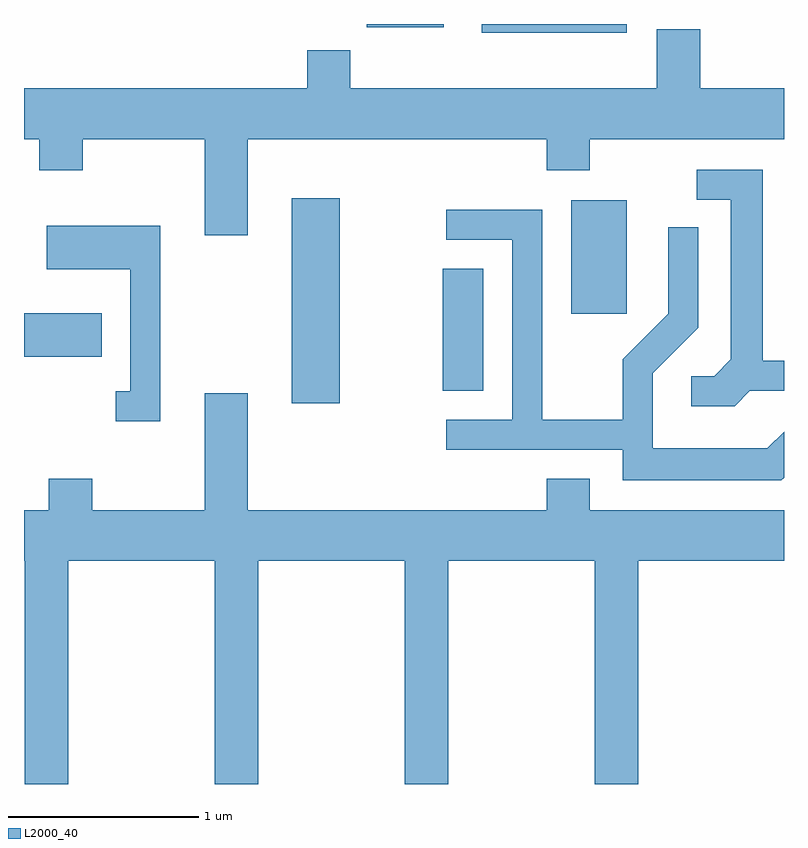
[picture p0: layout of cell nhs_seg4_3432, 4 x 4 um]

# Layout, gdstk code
import gdstk
lib = gdstk.Library(unit=1e-6, precision=1e-09)
def R(c, l, rs):  # rectangles x0, y0, x1, y1
    for r in rs: c.add(gdstk.rectangle(r[:2], r[2:], *l))
def P(c, l, *ps):  # polygons
    for p in ps: c.add(gdstk.Polygon(p, *l))
L2000_40 = (2000, 40)

nhs_seg4_3432 = lib.new_cell('nhs_seg4_3432')
R(nhs_seg4_3432, L2000_40, [(287.021,1319.986,287.274,1321.064), (287.816,1320.051,288.029,1320.694), (285.611,1320.231,286.019,1320.459), (288.491,1320.456,288.784,1321.054), (288.021,1321.936,288.784,1321.982), (287.416,1321.966,287.819,1321.982)])
P(nhs_seg4_3432, L2000_40, [(286.789,1321.376),(288.361,1321.376),(288.361,1321.211),(288.589,1321.211),(288.589,1321.376),(289.611,1321.376),(289.611,1321.644),(289.169,1321.644),(289.169,1321.954),(288.941,1321.954),(288.941,1321.644),(287.329,1321.644),(287.329,1321.844),(287.101,1321.844),(287.101,1321.644),(285.611,1321.644),(285.611,1321.376),(285.691,1321.376),(285.691,1321.211),(285.919,1321.211),(285.919,1321.376),(286.561,1321.376),(286.561,1320.871),(286.789,1320.871)],
  [(289.432,1320.051),(289.611,1320.051),(289.611,1320.209),(289.499,1320.209),(289.499,1321.214),(289.153,1321.214),(289.153,1321.056),(289.331,1321.056),(289.331,1320.217),(289.244,1320.129),(289.123,1320.129),(289.123,1319.971),(289.352,1319.971)],
  [(289.611,1319.595),(289.611,1319.836),(289.524,1319.749),(288.919,1319.749),(288.919,1320.144),(289.159,1320.384),(289.159,1320.913),(289.001,1320.913),(289.001,1320.457),(288.761,1320.217),(288.761,1319.899),(288.339,1319.899),(288.339,1321.004),(287.833,1321.004),(287.833,1320.846),(288.181,1320.846),(288.181,1319.899),(287.833,1319.899),(287.833,1319.741),(288.761,1319.741),(288.761,1319.581),(289.597,1319.581)],
  [(286.329,1320.919),(285.731,1320.919),(285.731,1320.691),(286.171,1320.691),(286.171,1320.049),(286.093,1320.049),(286.093,1319.891),(286.329,1319.891)],
  [(288.589,1319.589),(288.361,1319.589),(288.361,1319.424),(286.789,1319.424),(286.789,1320.039),(286.561,1320.039),(286.561,1319.424),(285.969,1319.424),(285.969,1319.589),(285.741,1319.589),(285.741,1319.424),(285.611,1319.424),(285.611,1319.156),(285.616,1319.156),(285.616,1317.982),(285.844,1317.982),(285.844,1319.156),(286.616,1319.156),(286.616,1317.982),(286.844,1317.982),(286.844,1319.156),(287.616,1319.156),(287.616,1317.982),(287.844,1317.982),(287.844,1319.156),(288.616,1319.156),(288.616,1317.982),(288.844,1317.982),(288.844,1319.156),(289.611,1319.156),(289.611,1319.424),(288.589,1319.424)])

lib.write_gds('nhs_seg4_3432.gds')
